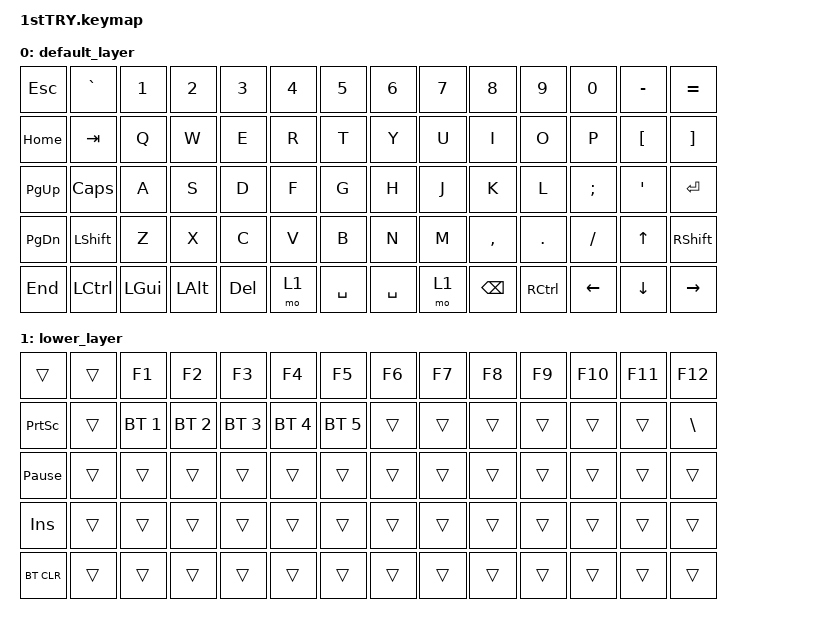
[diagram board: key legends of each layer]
/*
 * Copyright (c) 2020 The ZMK Contributors
 *
 * SPDX-License-Identifier: MIT
 */

#include <behaviors.dtsi>
#include <dt-bindings/zmk/keys.h>
#include <dt-bindings/zmk/bt.h>

/ {
        keymap {
                compatible = "zmk,keymap";

                default_layer {
// -----------------------------------------------------------------------------------------
// | ESC  |  `   |  1  |  2  |  3  |  4  |  5  |   |  6  |  7  |  8  |  9  |  0  |  -  |  =  |
// | HOME | TAB  |  Q  |  W  |  E  |  R  |  T  |   |  Y  |  U  |  I  |  O  |  P  |  [  |  ]  |
// | PGUP | CAPS |  A  |  S  |  D  |  F  |  G  |   |  H  |  J  |  K  |  L  |  ;  |  '  | ENT |
// | PGDN | SHFT |  Z  |  X  |  C  |  V  |  B  |   |  N  |  M  |  ,  |  .  |  /  | UARW| SHFT|
// | END  | CTRL | GUI | ALT | DEL | LOW | SPC |   | SPC | LOW | BSPC| CTRL| LARW| DARW| RARW|
                        bindings = <
   &kp ESC   &kp GRAVE &kp N1   &kp N2   &kp N3  &kp N4 &kp N5      &kp N6    &kp N7 &kp N8    &kp N9    &kp N0   &kp MINUS &kp EQUAL
   &kp HOME  &kp TAB   &kp Q    &kp W    &kp E   &kp R  &kp T       &kp Y     &kp U  &kp I     &kp O     &kp P    &kp LBKT  &kp RBKT
   &kp PG_UP &kp CAPS  &kp A    &kp S    &kp D   &kp F  &kp G       &kp H     &kp J  &kp K     &kp L     &kp SEMI &kp APOS  &kp RET
   &kp PG_DN &kp LSHFT &kp Z    &kp X    &kp C   &kp V  &kp B       &kp N     &kp M  &kp COMMA &kp DOT   &kp FSLH &kp UP    &kp RSHFT
   &kp END   &kp LCTRL &kp LGUI &kp LALT &kp DEL &mo 1  &kp SPACE   &kp SPACE &mo 1  &kp BSPC  &kp RCTRL &kp LEFT &kp DOWN  &kp RIGHT
                        >;
                };
                lower_layer {
// -----------------------------------------------------------------------------------------
// |       |    |  F1  |  F2  |  F3  |  F4  |  F5  |   |  F6  |  F7  |  F8  |  F9  |  F10 |  F11 |  F12 |
// | PSCRN |    |  BT1 |  BT2 |  BT3 |  BT4 |  BT5 |   |      |      |      |      |      |      |   \  |
// | PSBRK |    |      |      |      |      |      |   |      |      |      |      |      |      |      |
// |  INS  |    |      |      |      |      |      |   |      |      |      |      |      |      |      |
// | BTCLR |    |      |      |      |      |      |   |      |      |      |      |      |      |      |
                        bindings = <
   &trans          &trans &kp F1        &kp F2        &kp F3       &kp F4       &kp F5         &kp F6 &kp F7 &kp F8 &kp F9 &kp F10 &kp F11 &kp F12
   &kp PSCRN       &trans &bt BT_SEL 1  &bt BT_SEL 2  &bt BT_SEL 3 &bt BT_SEL 4 &bt BT_SEL 5   &trans &trans &trans &trans &trans  &trans  &kp BSLH
   &kp PAUSE_BREAK &trans &trans        &trans        &trans       &trans       &trans         &trans &trans &trans &trans &trans  &trans  &trans
   &kp INS         &trans &trans        &trans        &trans       &trans       &trans         &trans &trans &trans &trans &trans  &trans  &trans
   &bt BT_CLR      &trans &trans        &trans        &trans       &trans       &trans         &trans &trans &trans &trans &trans  &trans  &trans
                        >;
                };
        };
};
